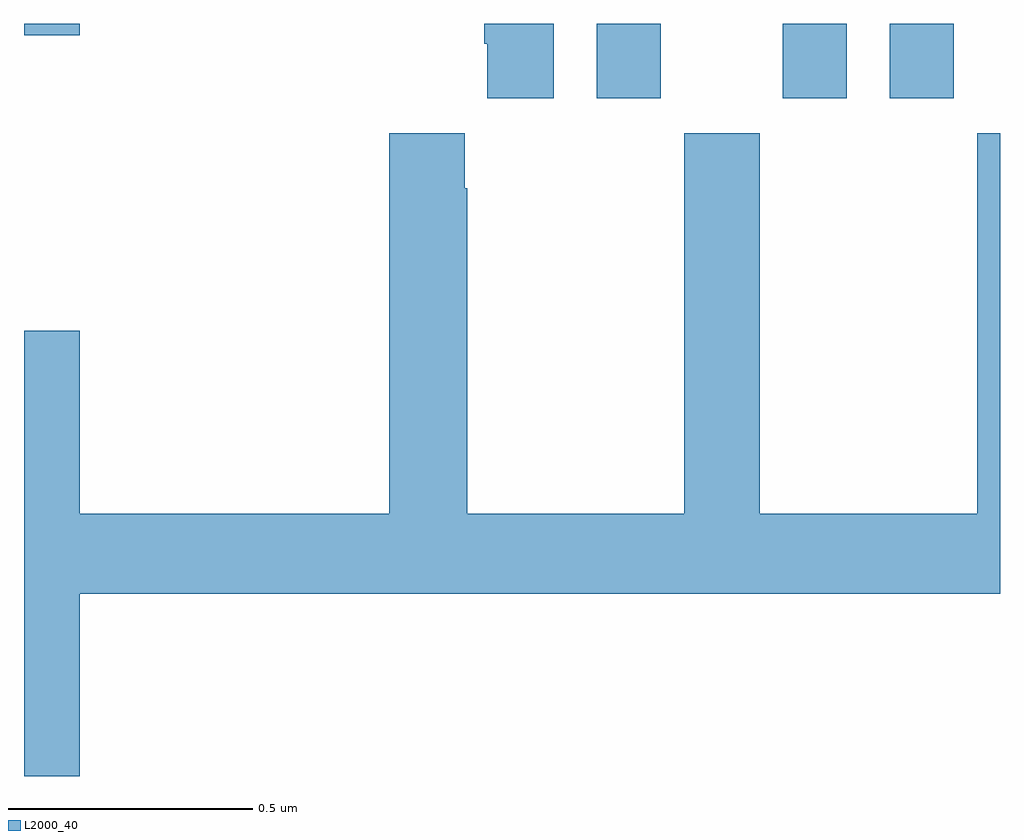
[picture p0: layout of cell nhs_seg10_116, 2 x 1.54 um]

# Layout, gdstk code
import gdstk
lib = gdstk.Library(unit=1e-6, precision=1e-09)
def R(c, l, rs):  # rectangles x0, y0, x1, y1
    for r in rs: c.add(gdstk.rectangle(r[:2], r[2:], *l))
def P(c, l, *ps):  # polygons
    for p in ps: c.add(gdstk.Polygon(p, *l))
L2000_40 = (2000, 40)

nhs_seg10_116 = lib.new_cell('nhs_seg10_116')
R(nhs_seg10_116, L2000_40, [(113.174,1285.347,113.305,1285.5), (113.555,1285.347,113.686,1285.5), (113.774,1285.347,113.905,1285.5), (112,1285.476,112.114,1285.5)])
P(nhs_seg10_116, L2000_40, [(113.086,1285.5),(112.943,1285.5),(112.943,1285.459),(112.949,1285.459),(112.949,1285.347),(113.086,1285.347)],
  [(112.114,1284.332),(114,1284.332),(114,1285.276),(113.953,1285.276),(113.953,1284.496),(113.508,1284.496),(113.508,1285.276),(113.353,1285.276),(113.353,1284.496),(112.908,1284.496),(112.908,1285.163),(112.903,1285.163),(112.903,1285.276),(112.748,1285.276),(112.748,1284.496),(112.114,1284.496),(112.114,1284.871),(112,1284.871),(112,1283.958),(112.114,1283.958)])

lib.write_gds('nhs_seg10_116.gds')
